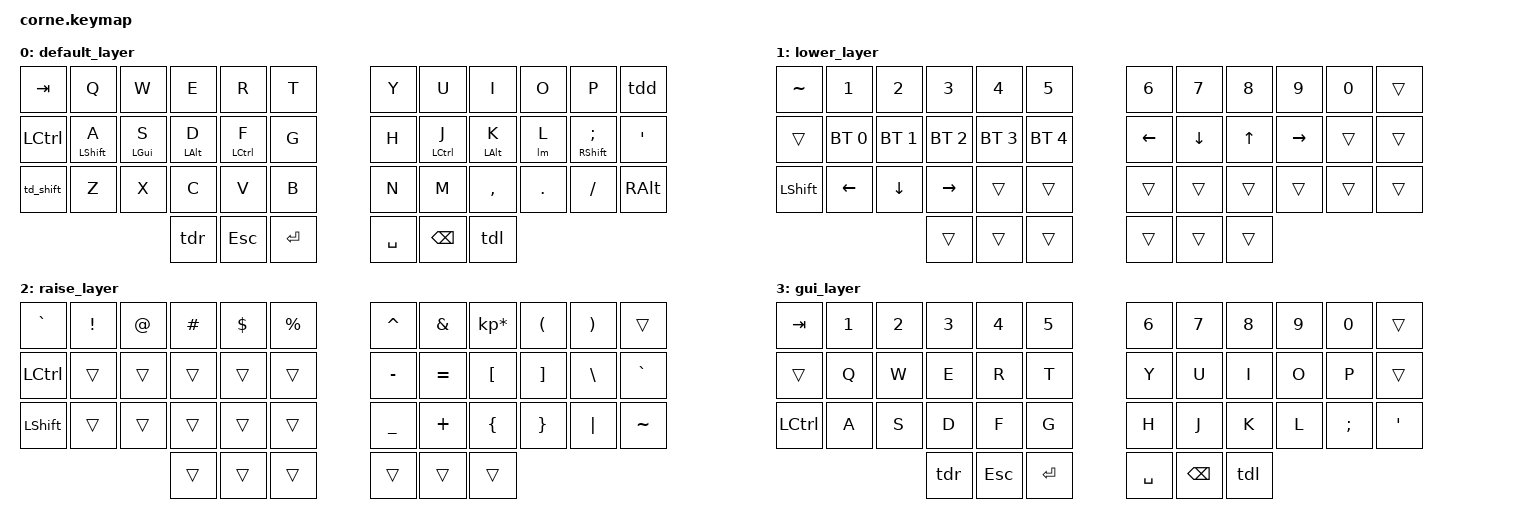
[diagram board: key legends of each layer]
/*
 * Copyright (c) 2020 The ZMK Contributors
 *
 * SPDX-License-Identifier: MIT
 */

#include "keypos_42keys.h"

#include <behaviors.dtsi>
#include <dt-bindings/zmk/keys.h>
#include <dt-bindings/zmk/bt.h>

&sl {
    release-after-ms = <2000>;
};

&sk {
    release-after-ms = <2000>;
    quick-release;
};

/ {
        lm: lm {
            label = "LAYER_MOD";
            compatible = "zmk,behavior-macro";
            wait-ms = <0>;
            tap-ms = <0>;
            #binding-cells = <0>;
            bindings = <&macro_press &mo 3>,
                       <&macro_press &kp LGUI>,
                       <&macro_pause_for_release>,
                       <&macro_release &kp LGUI>,
                       <&macro_release &mo 3>;
        };

        behaviors {
            hml: hold_mod_left {
                compatible = "zmk,behavior-hold-tap";
                label = "HOLD_MOD_LEFT";
                #binding-cells = <2>;
                flavor = "tap-preferred";
                tapping-term-ms = <280>;
                quick-tap-ms = <175>;                // repeat on tap-into-hold
                require-prior-idle-ms = <40>;
                bindings = <&kp>, <&kp>;
                hold-trigger-key-positions = <KEYS_R THUMBS>;
                hold-trigger-on-release;             // delay positional check until key-release
            };
        };

        behaviors {
            hmr: hold_mod_right {
                compatible = "zmk,behavior-hold-tap";
                label = "HOLD_MOD_RIGHT";
                #binding-cells = <2>;
                flavor = "tap-preferred";
                tapping-term-ms = <280>;
                quick-tap-ms = <175>;                // repeat on tap-into-hold
                require-prior-idle-ms = <40>;
                bindings = <&kp>, <&kp>;
                hold-trigger-key-positions = <KEYS_L THUMBS>;
                hold-trigger-on-release;             // delay positional check until key-release
            };
        };

        behaviors {
            hlmr: hold_layer_mod_right {
                compatible = "zmk,behavior-hold-tap";
                label = "HOLD_LAYER_MOD_RIGHT";
                #binding-cells = <2>;
                flavor = "tap-preferred";
                tapping-term-ms = <280>;
                quick-tap-ms = <175>;                // repeat on tap-into-hold
                require-prior-idle-ms = <40>;
                bindings = <&lm>, <&kp>;
                hold-trigger-key-positions = <KEYS_L THUMBS>;
                hold-trigger-on-release;             // delay positional check until key-release
            };
        };

        behaviors {
            td_shift: tap_dance_shift {
                compatible = "zmk,behavior-tap-dance";
                label = "TAP_DANCE_SHIFT";
                #binding-cells = <0>;
                tapping-term-ms = <200>;
                bindings = <&sk LSHFT>, <&caps_word>;
            };
        };

        behaviors {
            tdl: tap_dance_lower {
                compatible = "zmk,behavior-tap-dance";
                label = "TAP_DANCE_LOWER";
                #binding-cells = <0>;
                tapping-term-ms = <200>;
                bindings = <&sl 1>, <&tog 1>;
            };
        };

        behaviors {
            tdr: tap_dance_raise {
                compatible = "zmk,behavior-tap-dance";
                label = "TAP_DANCE_RAISE";
                #binding-cells = <0>;
                tapping-term-ms = <200>;
                bindings = <&sl 2>, <&tog 2>;
            };
        };

        behaviors {
            tdd: tap_dance_delete {
                compatible = "zmk,behavior-tap-dance";
                label = "TAP_DANCE_DELETE";
                #binding-cells = <0>;
                tapping-term-ms = <200>;
                bindings = <&kp BSLH>, <&kp DEL>;
            };
        };

        keymap {
                compatible = "zmk,keymap";
default_layer {
// -----------------------------------------------------------------------------------------
// |  TAB |  Q  |  W  |  E  |  R  |  T  |   |  Y  |  U   |  I  |  O  |  P  | BKSP |
// | CTRL |  A  |  S  |  D  |  F  |  G  |   |  H  |  J   |  K  |  L  |  ;  |  '   |
// | SHFT |  Z  |  X  |  C  |  V  |  B  |   |  N  |  M   |  ,  |  .  |  /  | ESC  |
//                    | GUI | LWR | ENT |   | SPC | RSE  | ALT |
                        bindings = <
   &kp TAB   &kp Q &kp W &kp E &kp R &kp T   &kp Y &kp U  &kp I     &kp O   &kp P    &tdd
   &kp LCTRL &hml LSHFT A &hml LGUI S &hml LALT D &hml LCTRL F &kp G   &kp H &hmr LCTRL J  &hmr LALT K &hlmr 0 L  &hmr RSHFT SEMI &kp SQT
//   &kp LCTRL &hml LSHFT A &hml LGUI S &hml LALT D &hml LCTRL F &kp G   &kp H &hmr LCTRL J  &hmr LALT K &hmr LGUI L   &hmr RSHFT SEMI &kp SQT
   &td_shift &kp Z &kp X &kp C &kp V &kp B   &kp N &kp M  &kp COMMA &kp DOT &kp FSLH &kp RALT
                    &tdr &kp ESC &kp RET   &kp SPACE &kp BSPC &tdl
                        >;
                };
                lower_layer {
// -----------------------------------------------------------------------------------------
// |  TAB |  1  |  2  |  3  |  4  |  5  |   |  6  |  7  |  8  |  9  |  0  | BKSP |
// | BTCLR| BT1 | BT2 | BT3 | BT4 | BT5 |   | LFT | DWN |  UP | RGT |     |      |
// | SHFT |     |     |     |     |     |   |     |     |     |     |     |      |
//                    | GUI |     | SPC |   | ENT |     | ALT |
                        bindings = <
   &kp TILDE  &kp N1      &kp N2     &kp N3       &kp N4       &kp N5         &kp N6   &kp N7   &kp N8 &kp N9    &kp N0 &trans
   &trans     &bt BT_SEL 0 &bt BT_SEL 1 &bt BT_SEL 2 &bt BT_SEL 3 &bt BT_SEL 4   &kp LEFT &kp DOWN &kp UP &kp RIGHT &trans &trans
   &kp LSHFT  &kp LEFT    &kp DOWN   &kp RIGHT    &trans       &trans         &trans   &trans   &trans &trans    &trans &trans

                                    &trans     &trans       &trans      &trans  &trans   &trans
                        >;
                };

                raise_layer {
// -----------------------------------------------------------------------------------------
// |  TAB |  !  |  @  |  #  |  $  |  %  |   |  ^  |  &  |  *  |  (  |  )  | BKSP |
// | CTRL |     |     |     |     |     |   |  -  |  =  |  [  |  ]  |  \  |  `   |
// | SHFT |     |     |     |     |     |   |  _  |  +  |  {  |  }  | "|" |  ~   |
//                    | GUI |     | SPC |   | ENT |     | ALT |
                        bindings = <
   &kp GRAVE  &kp EXCL &kp AT &kp HASH &kp DLLR &kp PRCNT   &kp CARET &kp AMPS  &kp KP_MULTIPLY &kp LPAR &kp RPAR &trans
   &kp LCTRL &trans   &trans &trans   &trans   &trans      &kp MINUS &kp EQUAL &kp LBKT        &kp RBKT &kp BSLH &kp GRAVE
   &kp LSHFT &trans   &trans &trans   &trans   &trans      &kp UNDER &kp PLUS  &kp LBRC        &kp RBRC &kp PIPE &kp TILDE
                             &trans &trans   &trans   &trans   &trans    &trans
                        >;
                };
                gui_layer {
// -----------------------------------------------------------------------------------------
// |  TAB |  Q  |  W  |  E  |  R  |  T  |   |  Y  |  U   |  I  |  O  |  P  | BKSP |
// | CTRL |  A  |  S  |  D  |  F  |  G  |   |  H  |  J   |  K  |  L  |  ;  |  '   |
// | SHFT |  Z  |  X  |  C  |  V  |  B  |   |  N  |  M   |  ,  |  .  |  /  | ESC  |
//                    | GUI | LWR | ENT |   | SPC | RSE  | ALT |
                        bindings = <
   &kp TAB    &kp N1       &kp N2       &kp N3       &kp N4       &kp N5         &kp N6   &kp N7   &kp N8 &kp N9    &kp N0 &trans
   &trans   &kp Q &kp W &kp E &kp R &kp T   &kp Y &kp U  &kp I     &kp O   &kp P    &trans
   &kp LCTRL &kp A &kp S &kp D &kp F &kp G   &kp H &kp J  &kp K &kp L  &kp SEMI &kp SQT
                    &tdr &kp ESC &kp RET   &kp SPACE &kp BSPC &tdl
                        >;
                };
        };
};
